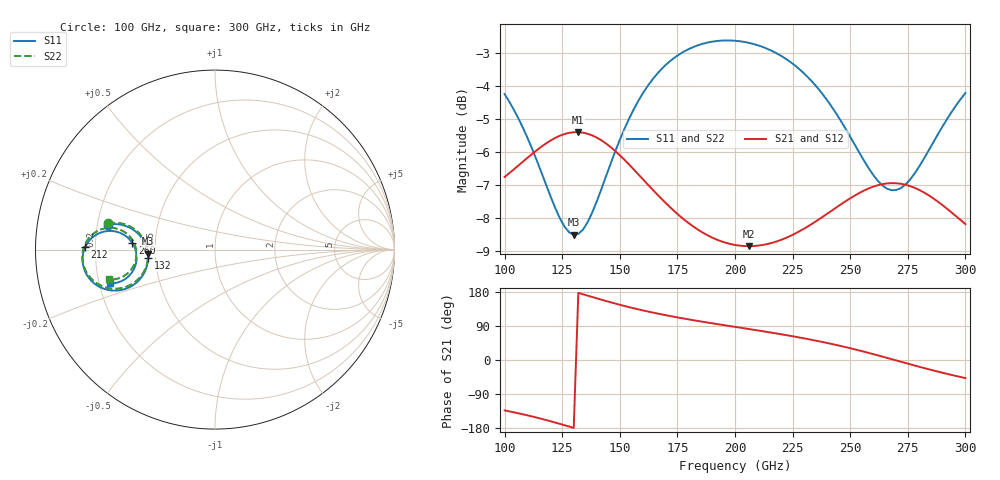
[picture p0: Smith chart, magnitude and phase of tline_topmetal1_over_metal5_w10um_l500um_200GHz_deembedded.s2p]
! Created with skrf 2.0.1 (http://scikit-rf.org).
# GHz S DB R 50.0
!freq dBS11 angS11 dBS21 angS21 dBS12 angS12 dBS22 angS22
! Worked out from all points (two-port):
!   101 points, 100 GHz to 300 GHz, reference 50 ohm
!   highest |S21| = -5.40 dB at 132 GHz (marker M1); lowest = -8.9 dB at 206 GHz (marker M2)
!   |S21| within 3 dB of the highest: start of sweep to 184.7 GHz; 228.4 GHz to end of sweep
!   lowest |S11| = -8.5 dB at 130 GHz (marker M3), VSWR 2.20, Z = 22.7 - j1.23 ohm
!   |S11| at or under -10 dB: nowhere
!   |S22| runs from -8.5 to -2.6 dB; largest |S21 - S12| = 4.6e-14
!   S11 on the Smith chart (normalised r, x): 100 GHz: 0.24, +0.11; 132 GHz: 0.45, -0.05; 212 GHz: 0.16, +0.01; 260 GHz: 0.37, +0.04; 300 GHz: 0.24, -0.15
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100  -4.24 167.0  -6.76 -133.0  -6.76 -133.0  -4.25 166.3
108  -5.27 165.2  -6.29 -143.4  -6.29 -143.4  -5.28 164.4
114  -6.26 165.7  -5.95 -152.1  -5.95 -152.1  -6.27 164.9
122  -7.71 171.2  -5.57 -165.1  -5.57 -165.1  -7.72 170.3
130  -8.52 -176.4  -5.40 -179.2  -5.40 -179.2  -8.54 -177.4
132  -8.49 -172.8  -5.40 177.2  -5.40 177.2  -8.51 -173.7
134  -8.36 -169.3  -5.41 173.5  -5.41 173.5  -8.38 -170.2
142  -7.13 -159.2  -5.65 159.2  -5.65 159.2  -7.14 -160.2
150  -5.63 -156.2  -6.10 145.8  -6.10 145.8  -5.64 -157.3
158  -4.45 -157.6  -6.68 133.7  -6.68 133.7  -4.46 -158.7
168  -3.49 -161.6  -7.42 120.6  -7.42 120.6  -3.49 -162.7
184  -2.75 -169.0  -8.37 103.0  -8.37 103.0  -2.76 -170.3
200  -2.62 -176.1  -8.83 87.4  -8.83 87.4  -2.62 -177.5
206  -2.68 -178.6  -8.87 81.7  -8.87 81.7  -2.69 180.0
212  -2.81 179.0  -8.83 76.0  -8.83 76.0  -2.81 177.5
234  -3.90 171.3  -8.16 52.4  -8.16 52.4  -3.91 169.6
248  -5.30 169.9  -7.50 34.0  -7.50 34.0  -5.30 168.1
260  -6.70 175.3  -7.06 15.5  -7.06 15.5  -6.71 173.5
268  -7.17 -176.6  -6.95 2.2  -6.95 2.2  -7.17 -178.5
276  -6.84 -168.1  -7.04 -11.3  -7.04 -11.3  -6.85 -170.1
286  -5.72 -162.2  -7.41 -27.5  -7.41 -27.5  -5.72 -164.2
300  -4.21 -162.2  -8.19 -47.7  -8.19 -47.7  -4.21 -164.3
